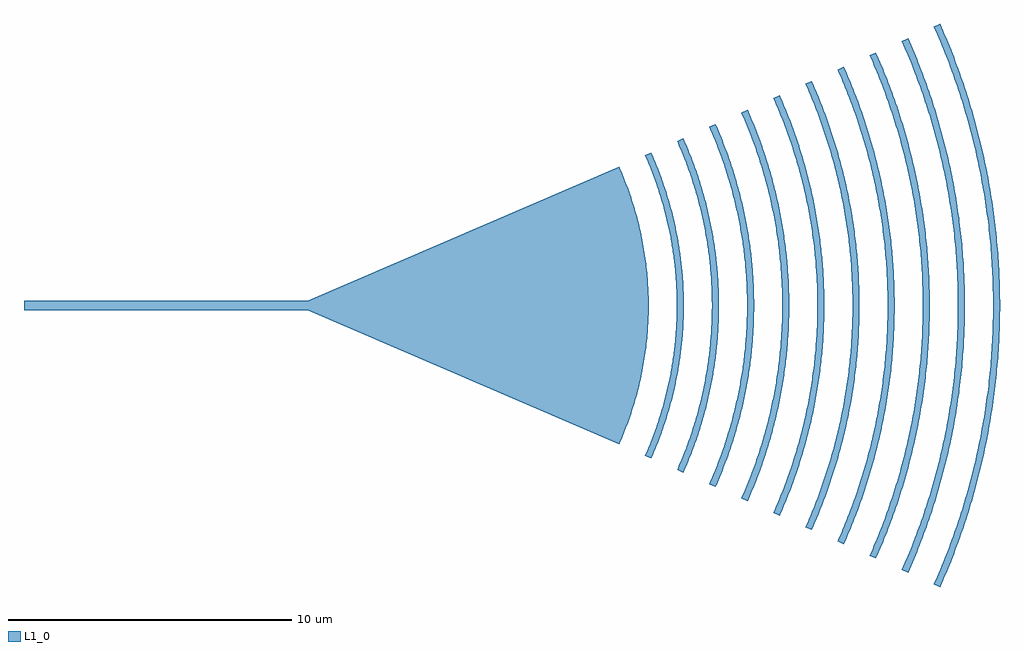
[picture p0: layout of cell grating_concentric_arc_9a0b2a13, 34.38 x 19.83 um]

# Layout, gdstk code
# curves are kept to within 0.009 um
import gdstk
lib = gdstk.Library(unit=1e-6, precision=1e-09)
def R(c, l, rs):  # rectangles x0, y0, x1, y1
    for r in rs: c.add(gdstk.rectangle(r[:2], r[2:], *l))
def P(c, l, *ps):  # polygons
    for p in ps: c.add(gdstk.Polygon(p, *l))
L1_0 = (1, 0)

straight_3aa2beef = lib.new_cell('straight_3aa2beef')
R(straight_3aa2beef, L1_0, [(0,-0.175,10,0.175)])

ring_7f672872_transform_ = lib.new_cell('ring_7f672872_transform_430da6bd')
P(ring_7f672872_transform_, L1_0, [(11.872,-5.286),(12.105,-4.728),(12.336,-4.088),(12.513,-3.509),(12.696,-2.776),(12.836,-2.033),(12.908,-1.509),(12.964,-0.907),(12.994,-0.227),(12.985,0.529),(12.932,1.283),(12.836,2.033),(12.712,2.702),(12.553,3.363),(12.383,3.944),(12.159,4.587),(11.872,5.286),(12.093,5.384),(12.331,4.816),(12.59,4.091),(12.787,3.426),(12.964,2.677),(13.075,2.071),(13.173,1.307),(13.227,0.539),(13.236,-0.231),(13.194,-1.077),(13.109,-1.842),(12.964,-2.677),(12.787,-3.426),(12.659,-3.87),(12.491,-4.382),(12.331,-4.816),(12.093,-5.384)])

ring_532d3cfd_transform_ = lib.new_cell('ring_532d3cfd_transform_c33dccc3')
P(ring_532d3cfd_transform_, L1_0, [(13.003,-5.789),(13.288,-5.101),(13.511,-4.477),(13.748,-3.684),(13.905,-3.04),(14.045,-2.308),(14.137,-1.652),(14.204,-0.91),(14.231,-0.248),(14.227,0.414),(14.179,1.24),(14.095,1.981),(13.956,2.797),(13.79,3.524),(13.562,4.319),(13.288,5.101),(13.003,5.789),(13.224,5.888),(13.544,5.109),(13.793,4.393),(14.025,3.584),(14.193,2.845),(14.31,2.181),(14.413,1.345),(14.46,0.673),(14.473,-0.253),(14.434,-1.094),(14.346,-1.931),(14.193,-2.845),(14.004,-3.665),(13.843,-4.232),(13.687,-4.713),(13.483,-5.266),(13.224,-5.888)])

ring_ba15de7a_transform_ = lib.new_cell('ring_ba15de7a_transform_50668a50')
P(ring_ba15de7a_transform_, L1_0, [(14.133,-6.293),(14.411,-5.628),(14.714,-4.781),(14.944,-4.004),(15.114,-3.305),(15.266,-2.509),(15.366,-1.796),(15.433,-1.079),(15.467,-0.36),(15.467,0.36),(15.433,1.079),(15.366,1.796),(15.266,2.509),(15.169,3.04),(15.054,3.568),(14.821,4.437),(14.507,5.376),(14.133,6.293),(14.354,6.391),(14.702,5.546),(14.972,4.769),(15.224,3.89),(15.406,3.088),(15.547,2.277),(15.645,1.461),(15.7,0.64),(15.709,-0.366),(15.661,-1.278),(15.56,-2.187),(15.406,-3.088),(15.201,-3.978),(15.053,-4.506),(14.827,-5.202),(14.603,-5.801),(14.354,-6.391)])

ring_b315ff9d_transform_ = lib.new_cell('ring_b315ff9d_transform_ac5788b5')
P(ring_b315ff9d_transform_, L1_0, [(15.264,-6.796),(15.599,-5.988),(15.891,-5.163),(16.114,-4.418),(16.302,-3.664),(16.471,-2.806),(16.584,-2.036),(16.668,-1.166),(16.706,-0.292),(16.704,0.389),(16.661,1.262),(16.584,2.036),(16.471,2.806),(16.258,3.853),(16.114,4.418),(15.95,4.978),(15.599,5.988),(15.264,6.796),(15.485,6.894),(15.86,5.982),(16.181,5.05),(16.423,4.196),(16.62,3.331),(16.771,2.457),(16.886,1.477),(16.94,0.592),(16.948,-0.296),(16.902,-1.281),(16.799,-2.261),(16.658,-3.137),(16.423,-4.196),(16.21,-4.956),(15.995,-5.612),(15.753,-6.258),(15.485,-6.894)])

ring_c534d798_transform_ = lib.new_cell('ring_c534d798_transform_ee35ee72')
P(ring_c534d798_transform_, L1_0, [(16.394,-7.299),(16.754,-6.431),(17.068,-5.546),(17.307,-4.746),(17.532,-3.833),(17.691,-3.013),(17.825,-2.083),(17.916,-1.043),(17.945,-0.209),(17.935,0.626),(17.895,1.356),(17.825,2.083),(17.691,3.013),(17.596,3.527),(17.462,4.139),(17.307,4.746),(17.162,5.247),(16.828,6.236),(16.6,6.819),(16.394,7.299),(16.616,7.398),(17.018,6.419),(17.298,5.62),(17.541,4.81),(17.791,3.781),(17.964,2.845),(18.099,1.796),(18.173,0.74),(18.187,-0.212),(18.144,-1.269),(18.039,-2.322),(17.874,-3.367),(17.622,-4.503),(17.424,-5.216),(17.197,-5.921),(16.942,-6.617),(16.616,-7.398)])

ring_26b249d0_transform_ = lib.new_cell('ring_26b249d0_transform_3fdecdbd')
P(ring_26b249d0_transform_, L1_0, [(17.525,-7.803),(17.869,-6.979),(18.21,-6.034),(18.501,-5.073),(18.717,-4.207),(18.892,-3.331),(19.041,-2.338),(19.137,-1.338),(19.181,-0.335),(19.172,0.669),(19.129,1.449),(19.041,2.338),(18.892,3.331),(18.692,4.315),(18.53,4.965),(18.378,5.502),(18.027,6.561),(17.745,7.29),(17.525,7.803),(17.746,7.901),(18.095,7.067),(18.475,6.003),(18.793,4.918),(19.047,3.817),(19.221,2.815),(19.342,1.806),(19.414,0.678),(19.423,-0.339),(19.37,-1.468),(19.267,-2.48),(19.09,-3.596),(18.849,-4.699),(18.642,-5.463),(18.404,-6.217),(18.176,-6.856),(17.837,-7.694),(17.746,-7.901)])

ring_3629fad8_transform_ = lib.new_cell('ring_3629fad8_transform_88679995')
P(ring_3629fad8_transform_, L1_0, [(18.656,-8.306),(19.065,-7.318),(19.385,-6.423),(19.694,-5.4),(19.95,-4.362),(20.151,-3.312),(20.283,-2.371),(20.387,-1.187),(20.42,-0.238),(20.409,0.713),(20.363,1.543),(20.269,2.489),(20.111,3.546),(19.871,4.709),(19.694,5.4),(19.529,5.971),(19.149,7.096),(18.934,7.65),(18.656,8.306),(18.877,8.404),(19.334,7.293),(19.652,6.385),(19.928,5.464),(20.212,4.296),(20.427,3.114),(20.574,1.921),(20.651,0.721),(20.662,-0.24),(20.613,-1.441),(20.494,-2.637),(20.39,-3.351),(20.284,-3.943),(20.049,-4.999),(19.863,-5.696),(19.576,-6.614),(19.334,-7.293),(19.021,-8.074),(18.877,-8.404)])

ring_99ec79d3_transform_ = lib.new_cell('ring_99ec79d3_transform_6531ca3d')
P(ring_99ec79d3_transform_, L1_0, [(19.786,-8.809),(20.22,-7.762),(20.599,-6.693),(20.921,-5.606),(21.159,-4.626),(21.372,-3.513),(21.527,-2.389),(21.622,-1.259),(21.657,-0.252),(21.646,0.756),(21.587,1.762),(21.482,2.765),(21.33,3.761),(21.075,4.995),(20.921,5.606),(20.749,6.212),(20.353,7.408),(20.082,8.113),(19.786,8.809),(20.007,8.908),(20.446,7.849),(20.666,7.251),(20.868,6.646),(21.219,5.422),(21.474,4.304),(21.67,3.174),(21.806,2.036),(21.883,0.892),(21.899,-0.255),(21.856,-1.401),(21.806,-2.036),(21.738,-2.669),(21.651,-3.3),(21.546,-3.928),(21.281,-5.175),(21.087,-5.914),(20.829,-6.768),(20.58,-7.491),(20.258,-8.322),(20.007,-8.908)])

ring_8c037680_transform_ = lib.new_cell('ring_8c037680_transform_2f5ef56e')
P(ring_8c037680_transform_, L1_0, [(20.917,-9.313),(21.376,-8.205),(21.776,-7.075),(22.116,-5.926),(22.368,-4.891),(22.571,-3.845),(22.742,-2.658),(22.841,-1.597),(22.872,-1.065),(22.895,-0.266),(22.893,0.4),(22.872,1.065),(22.809,1.996),(22.692,3.055),(22.525,4.107),(22.396,4.76),(22.248,5.41),(22.046,6.183),(21.857,6.822),(21.649,7.454),(21.423,8.081),(21.179,8.7),(20.917,9.313),(21.138,9.411),(21.602,8.292),(22.006,7.15),(22.35,5.989),(22.633,4.811),(22.854,3.62),(23.012,2.419),(23.107,1.211),(23.135,0.404),(23.137,-0.269),(23.119,-0.942),(23.082,-1.614),(23.012,-2.419),(22.932,-3.087),(22.739,-4.283),(22.633,-4.811),(22.451,-5.598),(22.242,-6.378),(22.006,-7.15),(21.697,-8.04),(21.403,-8.792),(21.138,-9.411)])

ring_4a8a47b1_transform_ = lib.new_cell('ring_4a8a47b1_transform_f9e3ce15')
P(ring_4a8a47b1_transform_, L1_0, [(22.047,-9.816),(22.531,-8.649),(22.953,-7.458),(23.312,-6.246),(23.607,-5.018),(23.837,-3.775),(23.987,-2.662),(24.085,-1.543),(24.124,-0.702),(24.134,-0.14),(24.114,0.983),(24.042,2.103),(23.899,3.359),(23.717,4.467),(23.607,5.018),(23.417,5.839),(23.275,6.382),(23.038,7.19),(22.819,7.857),(22.581,8.518),(22.324,9.171),(22.047,9.816),(22.269,9.915),(22.757,8.736),(23.183,7.533),(23.432,6.719),(23.582,6.172),(23.843,5.068),(23.981,4.372),(24.098,3.673),(24.257,2.407),(24.35,1.134),(24.376,-0.142),(24.356,-0.992),(24.317,-1.7),(24.257,-2.407),(24.177,-3.111),(23.981,-4.372),(23.843,-5.068),(23.686,-5.759),(23.432,-6.719),(23.183,-7.533),(22.906,-8.337),(22.548,-9.263),(22.269,-9.915)])

grating_concentric_arc_9 = lib.new_cell('grating_concentric_arc_9a0b2a13')
P(grating_concentric_arc_9, L1_0, [(0,0.175),(0,-0.175),(10.963,-4.881),(11.203,-4.3),(11.413,-3.708),(11.564,-3.207),(11.716,-2.597),(11.818,-2.084),(11.923,-1.358),(11.978,-0.733),(12,-0.105),(11.989,0.523),(11.945,1.15),(11.868,1.774),(11.738,2.495),(11.564,3.207),(11.413,3.708),(11.203,4.3),(10.963,4.881)])
grating_concentric_arc_9.add(gdstk.Reference(straight_3aa2beef, (-10,0)))
grating_concentric_arc_9.add(gdstk.Reference(ring_7f672872_transform_, (0,0)))
grating_concentric_arc_9.add(gdstk.Reference(ring_532d3cfd_transform_, (0,0)))
grating_concentric_arc_9.add(gdstk.Reference(ring_ba15de7a_transform_, (0,0)))
grating_concentric_arc_9.add(gdstk.Reference(ring_b315ff9d_transform_, (0,0)))
grating_concentric_arc_9.add(gdstk.Reference(ring_c534d798_transform_, (0,0)))
grating_concentric_arc_9.add(gdstk.Reference(ring_26b249d0_transform_, (0,0)))
grating_concentric_arc_9.add(gdstk.Reference(ring_3629fad8_transform_, (0,0)))
grating_concentric_arc_9.add(gdstk.Reference(ring_99ec79d3_transform_, (0,0)))
grating_concentric_arc_9.add(gdstk.Reference(ring_8c037680_transform_, (0,0)))
grating_concentric_arc_9.add(gdstk.Reference(ring_4a8a47b1_transform_, (0,0)))

lib.write_gds('grating_concentric_arc_9a0b2a13.gds')
